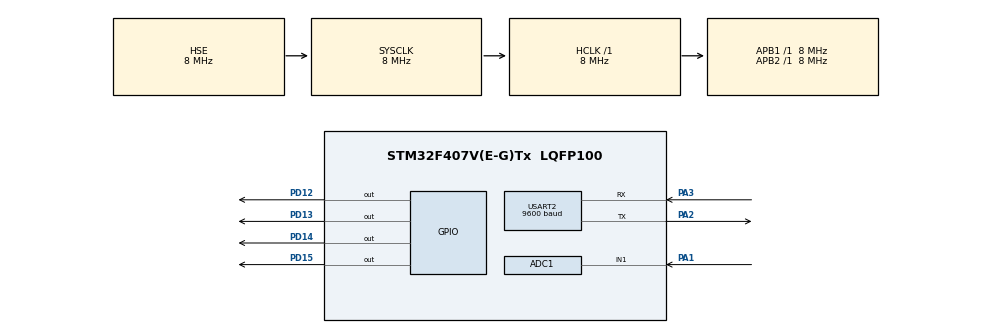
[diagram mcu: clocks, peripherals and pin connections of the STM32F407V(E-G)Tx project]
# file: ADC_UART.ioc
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ADC1.Channel-1\#ChannelRegularConversion=ADC_CHANNEL_1
ADC1.NbrOfConversionFlag=1
ADC1.Rank-1\#ChannelRegularConversion=1
ADC1.SamplingTime-1\#ChannelRegularConversion=ADC_SAMPLETIME_3CYCLES
ADC1.ScanConvMode=DISABLE
ADC1.master=1
Mcu.Family=STM32F4
Mcu.Name=STM32F407V(E-G)Tx
Mcu.Package=LQFP100
NVIC.ADC_IRQn=true\:0\:0\:false\:false\:true\:true\:true\:true
NVIC.PriorityGroup=NVIC_PRIORITYGROUP_4
NVIC.USART2_IRQn=true\:0\:0\:false\:false\:true\:true\:true\:true
PA1.Signal=ADCx_IN1
PA2.GPIO_Speed=GPIO_SPEED_FREQ_HIGH
PA2.Mode=Asynchronous
PA2.Signal=USART2_TX
PA3.GPIO_PuPd=GPIO_PULLUP
PA3.Mode=Asynchronous
PA3.Signal=USART2_RX
PD12.Signal=GPIO_Output
PD13.Signal=GPIO_Output
PD14.Signal=GPIO_Output
PD15.Signal=GPIO_Output
PH0-OSC_IN.Mode=HSE-External-Oscillator
PH0-OSC_IN.Signal=RCC_OSC_IN
PH1-OSC_OUT.Mode=HSE-External-Oscillator
PH1-OSC_OUT.Signal=RCC_OSC_OUT
ProjectManager.HeapSize=0x200
ProjectManager.StackSize=0x400
ProjectManager.TargetToolchain=STM32CubeIDE
RCC.48MHZClocksFreq_Value=24000000
RCC.AHBFreq_Value=8000000
RCC.APB1Freq_Value=8000000
RCC.APB1TimFreq_Value=8000000
RCC.APB2Freq_Value=8000000
RCC.APB2TimFreq_Value=8000000
RCC.CortexFreq_Value=8000000
RCC.HCLKFreq_Value=8000000
RCC.HSE_VALUE=8000000
RCC.HSI_VALUE=16000000
RCC.LSE_VALUE=32768
RCC.PLLSourceVirtual=RCC_PLLSOURCE_HSE
RCC.SYSCLKFreq_VALUE=8000000
RCC.SYSCLKSource=RCC_SYSCLKSOURCE_HSE
RCC.VCOOutputFreq_Value=96000000
SH.ADCx_IN1.0=ADC1_IN1,IN1
USART2.BaudRate=9600
USART2.VirtualMode=VM_ASYNC
board=custom

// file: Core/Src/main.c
/* USER CODE BEGIN Header */
/**
  ******************************************************************************
  * @file           : main.c
  * @brief          : Main program body
  ******************************************************************************
  * @attention
  *
  * Copyright (c) 2025 STMicroelectronics.
  * All rights reserved.
  *
  * This software is licensed under terms that can be found in the LICENSE file
  * in the root directory of this software component.
  * If no LICENSE file comes with this software, it is provided AS-IS.
  *
  ******************************************************************************
  */
/* USER CODE END Header */
#include "main.h"

/* USER CODE BEGIN PD */
//#define TX_IT
#define RX_IT

/* USER CODE END PD */

ADC_HandleTypeDef hadc1;

UART_HandleTypeDef huart2;

/* USER CODE BEGIN PV */
#ifdef TX_IT
	uint16_t adc_val;
	uint8_t txData[2];
#endif

#ifdef RX_IT
	uint8_t rxData[2];
	uint16_t adc_val_received;
#endif

/* USER CODE END PV */

void SystemClock_Config(void);
static void MX_GPIO_Init(void);
static void MX_USART2_UART_Init(void);
static void MX_ADC1_Init(void);

/* USER CODE BEGIN 0 */

#ifdef TX_IT
void HAL_ADC_ConvCpltCallback(ADC_HandleTypeDef *hadc)
{
	if(hadc->Instance == ADC1)
		{
		uint16_t adc_val = HAL_ADC_GetValue(&hadc1);
		txData[0] = adc_val & 0xFF;        // LSB
		txData[1] = (adc_val >> 8) & 0xFF; // MSB
		}
	if ((HAL_UART_Transmit_IT(&huart2, txData, sizeof(txData))) != HAL_OK)
		{
			  Error_Handler();
		}
}

void HAL_UART_TxCpltCallback(UART_HandleTypeDef *huart)
{
    if (huart->Instance == USART2)
    {
    	if ((HAL_ADC_Start_IT(&hadc1)) != HAL_OK)
		{
			  Error_Handler();
		}

    }
}
#endif

#ifdef RX_IT
void HAL_UART_RxCpltCallback(UART_HandleTypeDef *huart)
{
    if (huart->Instance == USART2)
    {
    	adc_val_received = (rxData[1] << 8) | rxData[0];
    	if (adc_val_received>4000)
    		  {
    			  HAL_GPIO_WritePin(GPIOD, GPIO_PIN_12|GPIO_PIN_13|GPIO_PIN_14|GPIO_PIN_15, GPIO_PIN_SET);
    			  HAL_GPIO_WritePin(GPIOD, GPIO_PIN_12|GPIO_PIN_13|GPIO_PIN_14|GPIO_PIN_15, GPIO_PIN_RESET);
    		  }
    		  else if (adc_val_received>3000)
    		  {
    			  HAL_GPIO_WritePin(GPIOD, GPIO_PIN_12|GPIO_PIN_13|GPIO_PIN_14, GPIO_PIN_SET);
    			  HAL_GPIO_WritePin(GPIOD, GPIO_PIN_12|GPIO_PIN_13|GPIO_PIN_14, GPIO_PIN_RESET);
    			  	  }
    		  else if (adc_val_received>2000)
    	  	  {
    	  		  HAL_GPIO_WritePin(GPIOD, GPIO_PIN_12|GPIO_PIN_13, GPIO_PIN_SET);
    	  		  HAL_GPIO_WritePin(GPIOD, GPIO_PIN_12|GPIO_PIN_13, GPIO_PIN_RESET);
    	  	  }
    		  else if (adc_val_received>1000)
    		  {
    			  HAL_GPIO_WritePin(GPIOD, GPIO_PIN_12, GPIO_PIN_SET);
    			  HAL_GPIO_WritePin(GPIOD, GPIO_PIN_12, GPIO_PIN_RESET);
    		  }
    	if (HAL_UART_Receive_IT(&huart2, rxData, sizeof(rxData))!= HAL_OK)
    	  {
    		  Error_Handler();
    	  }
    }
}
#endif

/* USER CODE END 0 */

int main(void)
{

  /* MCU Configuration--------------------------------------------------------*/

  /* Reset of all peripherals, Initializes the Flash interface and the Systick. */
  HAL_Init();

  /* Configure the system clock */
  SystemClock_Config();

  /* Initialize all configured peripherals */
  MX_GPIO_Init();
  MX_USART2_UART_Init();
  MX_ADC1_Init();
  /* USER CODE BEGIN 2 */

#ifdef TX_IT
  if ((HAL_ADC_Start_IT(&hadc1)) != HAL_OK)
  {
	  Error_Handler();
  }

#endif

#ifdef RX_IT
  if (HAL_UART_Receive_IT(&huart2, rxData, sizeof(rxData))!= HAL_OK)
  {
	  Error_Handler();
  }
#endif

  /* USER CODE END 2 */

  /* Infinite loop */
  while (1)
  {

  }
}

void SystemClock_Config(void)
{
  RCC_OscInitTypeDef RCC_OscInitStruct = {0};
  RCC_ClkInitTypeDef RCC_ClkInitStruct = {0};

  /** Configure the main internal regulator output voltage
  */
  __HAL_RCC_PWR_CLK_ENABLE();
  __HAL_PWR_VOLTAGESCALING_CONFIG(PWR_REGULATOR_VOLTAGE_SCALE1);

  /** Initializes the RCC Oscillators according to the specified parameters
  * in the RCC_OscInitTypeDef structure.
  */
  RCC_OscInitStruct.OscillatorType = RCC_OSCILLATORTYPE_HSE;
  RCC_OscInitStruct.HSEState = RCC_HSE_ON;
  RCC_OscInitStruct.PLL.PLLState = RCC_PLL_NONE;
  if (HAL_RCC_OscConfig(&RCC_OscInitStruct) != HAL_OK)
  {
    Error_Handler();
  }

  /** Initializes the CPU, AHB and APB buses clocks
  */
  RCC_ClkInitStruct.ClockType = RCC_CLOCKTYPE_HCLK|RCC_CLOCKTYPE_SYSCLK
                              |RCC_CLOCKTYPE_PCLK1|RCC_CLOCKTYPE_PCLK2;
  RCC_ClkInitStruct.SYSCLKSource = RCC_SYSCLKSOURCE_HSE;
  RCC_ClkInitStruct.AHBCLKDivider = RCC_SYSCLK_DIV1;
  RCC_ClkInitStruct.APB1CLKDivider = RCC_HCLK_DIV1;
  RCC_ClkInitStruct.APB2CLKDivider = RCC_HCLK_DIV1;

  if (HAL_RCC_ClockConfig(&RCC_ClkInitStruct, FLASH_LATENCY_0) != HAL_OK)
  {
    Error_Handler();
  }
}

static void MX_ADC1_Init(void)
{

  ADC_ChannelConfTypeDef sConfig = {0};

  /** Configure the global features of the ADC (Clock, Resolution, Data Alignment and number of conversion)
  */
  hadc1.Instance = ADC1;
  hadc1.Init.ClockPrescaler = ADC_CLOCK_SYNC_PCLK_DIV2;
  hadc1.Init.Resolution = ADC_RESOLUTION_12B;
  hadc1.Init.ScanConvMode = DISABLE;
  hadc1.Init.ContinuousConvMode = DISABLE;
  hadc1.Init.DiscontinuousConvMode = DISABLE;
  hadc1.Init.ExternalTrigConvEdge = ADC_EXTERNALTRIGCONVEDGE_NONE;
  hadc1.Init.ExternalTrigConv = ADC_SOFTWARE_START;
  hadc1.Init.DataAlign = ADC_DATAALIGN_RIGHT;
  hadc1.Init.NbrOfConversion = 1;
  hadc1.Init.DMAContinuousRequests = DISABLE;
  hadc1.Init.EOCSelection = ADC_EOC_SINGLE_CONV;
  if (HAL_ADC_Init(&hadc1) != HAL_OK)
  {
    Error_Handler();
  }

  /** Configure for the selected ADC regular channel its corresponding rank in the sequencer and its sample time.
  */
  sConfig.Channel = ADC_CHANNEL_1;
  sConfig.Rank = 1;
  sConfig.SamplingTime = ADC_SAMPLETIME_3CYCLES;
  if (HAL_ADC_ConfigChannel(&hadc1, &sConfig) != HAL_OK)
  {
    Error_Handler();
  }

}

static void MX_USART2_UART_Init(void)
{

  huart2.Instance = USART2;
  huart2.Init.BaudRate = 9600;
  huart2.Init.WordLength = UART_WORDLENGTH_8B;
  huart2.Init.StopBits = UART_STOPBITS_1;
  huart2.Init.Parity = UART_PARITY_NONE;
  huart2.Init.Mode = UART_MODE_TX_RX;
  huart2.Init.HwFlowCtl = UART_HWCONTROL_NONE;
  huart2.Init.OverSampling = UART_OVERSAMPLING_16;
  if (HAL_UART_Init(&huart2) != HAL_OK)
  {
    Error_Handler();
  }

}

static void MX_GPIO_Init(void)
{
  GPIO_InitTypeDef GPIO_InitStruct = {0};

  /* GPIO Ports Clock Enable */
  __HAL_RCC_GPIOH_CLK_ENABLE();
  __HAL_RCC_GPIOA_CLK_ENABLE();
  __HAL_RCC_GPIOD_CLK_ENABLE();

  /*Configure GPIO pin Output Level */
  HAL_GPIO_WritePin(GPIOD, GPIO_PIN_12|GPIO_PIN_13|GPIO_PIN_14|GPIO_PIN_15, GPIO_PIN_RESET);

  /*Configure GPIO pins : PD12 PD13 PD14 PD15 */
  GPIO_InitStruct.Pin = GPIO_PIN_12|GPIO_PIN_13|GPIO_PIN_14|GPIO_PIN_15;
  GPIO_InitStruct.Mode = GPIO_MODE_OUTPUT_PP;
  GPIO_InitStruct.Pull = GPIO_NOPULL;
  GPIO_InitStruct.Speed = GPIO_SPEED_FREQ_LOW;
  HAL_GPIO_Init(GPIOD, &GPIO_InitStruct);

}

void Error_Handler(void)
{
  /* USER CODE BEGIN Error_Handler_Debug */
  /* User can add his own implementation to report the HAL error return state */
  __disable_irq();
  while (1)
  {
	  HAL_GPIO_WritePin(GPIOD, GPIO_PIN_14, GPIO_PIN_SET);
  }
  /* USER CODE END Error_Handler_Debug */
}
